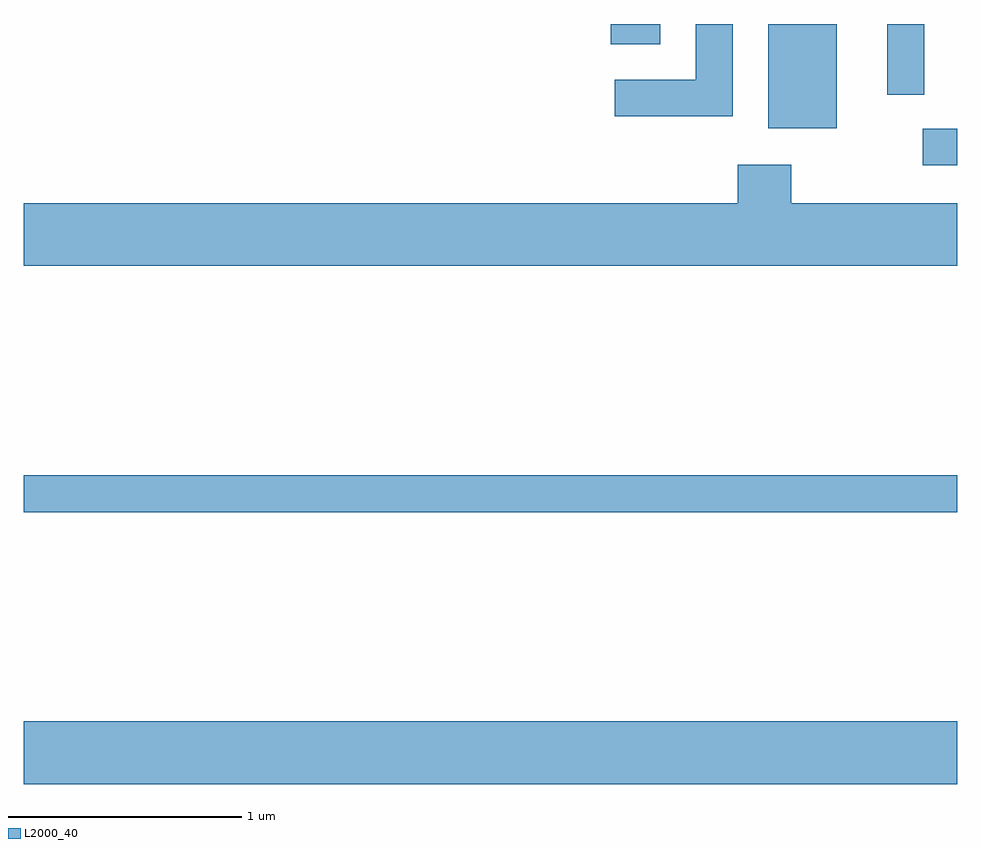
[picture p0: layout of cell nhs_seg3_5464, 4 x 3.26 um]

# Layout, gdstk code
import gdstk
lib = gdstk.Library(unit=1e-6, precision=1e-09)
def R(c, l, rs):  # rectangles x0, y0, x1, y1
    for r in rs: c.add(gdstk.rectangle(r[:2], r[2:], *l))
def P(c, l, *ps):  # polygons
    for p in ps: c.add(gdstk.Polygon(p, *l))
L2000_40 = (2000, 40)

nhs_seg3_5464 = lib.new_cell('nhs_seg3_5464')
R(nhs_seg3_5464, L2000_40, [(345.611,1172.636,349.611,1172.904), (345.611,1173.801,349.611,1173.959), (349.463,1175.286,349.611,1175.444), (348.801,1175.446,349.094,1175.892), (349.311,1175.588,349.469,1175.892), (348.126,1175.806,348.339,1175.892)])
P(nhs_seg3_5464, L2000_40, [(348.649,1175.892),(348.491,1175.892),(348.491,1175.654),(348.143,1175.654),(348.143,1175.496),(348.649,1175.496)],
  [(349.611,1175.124),(348.899,1175.124),(348.899,1175.289),(348.671,1175.289),(348.671,1175.124),(345.611,1175.124),(345.611,1174.856),(349.611,1174.856)])

lib.write_gds('nhs_seg3_5464.gds')
